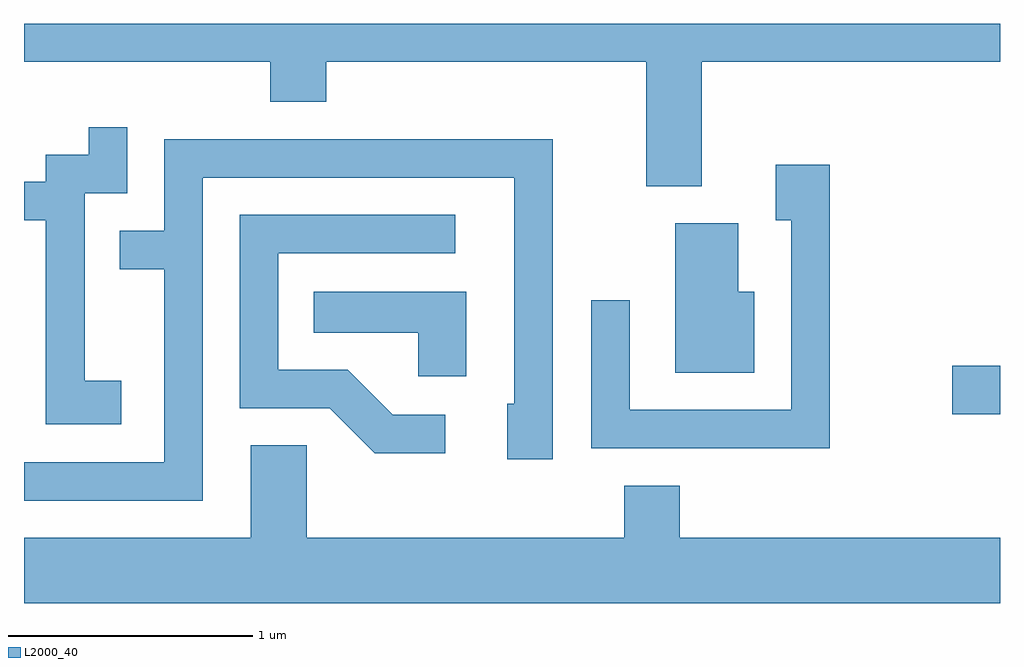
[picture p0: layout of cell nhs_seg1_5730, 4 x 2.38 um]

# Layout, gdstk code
import gdstk
lib = gdstk.Library(unit=1e-6, precision=1e-09)
def R(c, l, rs):  # rectangles x0, y0, x1, y1
    for r in rs: c.add(gdstk.rectangle(r[:2], r[2:], *l))
def P(c, l, *ps):  # polygons
    for p in ps: c.add(gdstk.Polygon(p, *l))
L2000_40 = (2000, 40)

nhs_seg1_5730 = lib.new_cell('nhs_seg1_5730')
R(nhs_seg1_5730, L2000_40, [(361.416,918.111,361.611,918.309)])
P(nhs_seg1_5730, L2000_40, [(360.389,919.556),(361.611,919.556),(361.611,919.712),(357.611,919.712),(357.611,919.556),(358.621,919.556),(358.621,919.391),(358.849,919.391),(358.849,919.556),(360.161,919.556),(360.161,919.046),(360.389,919.046)],
  [(358.009,918.249),(357.859,918.249),(357.859,919.016),(358.034,919.016),(358.034,919.288),(357.876,919.288),(357.876,919.174),(357.701,919.174),(357.701,919.064),(357.611,919.064),(357.611,918.906),(357.701,918.906),(357.701,918.071),(358.009,918.071)],
  [(358.344,919.081),(359.621,919.081),(359.621,918.154),(359.591,918.154),(359.591,917.926),(359.779,917.926),(359.779,919.239),(358.186,919.239),(358.186,918.864),(358.003,918.864),(358.003,918.706),(358.186,918.706),(358.186,917.914),(357.611,917.914),(357.611,917.756),(358.344,917.756)],
  [(360.914,919.134),(360.691,919.134),(360.691,918.906),(360.756,918.906),(360.756,918.129),(360.094,918.129),(360.094,918.578),(359.936,918.578),(359.936,917.971),(360.914,917.971)],
  [(359.338,918.109),(359.122,918.109),(358.937,918.294),(358.654,918.294),(358.654,918.771),(359.378,918.771),(359.378,918.929),(358.496,918.929),(358.496,918.136),(358.864,918.136),(359.049,917.951),(359.338,917.951)],
  [(360.604,918.614),(360.539,918.614),(360.539,918.894),(360.281,918.894),(360.281,918.281),(360.604,918.281)],
  [(359.424,918.614),(358.798,918.614),(358.798,918.446),(359.226,918.446),(359.226,918.266),(359.424,918.266)],
  [(361.611,917.604),(360.299,917.604),(360.299,917.819),(360.071,917.819),(360.071,917.604),(358.769,917.604),(358.769,917.984),(358.541,917.984),(358.541,917.604),(357.611,917.604),(357.611,917.336),(361.611,917.336)])

lib.write_gds('nhs_seg1_5730.gds')
